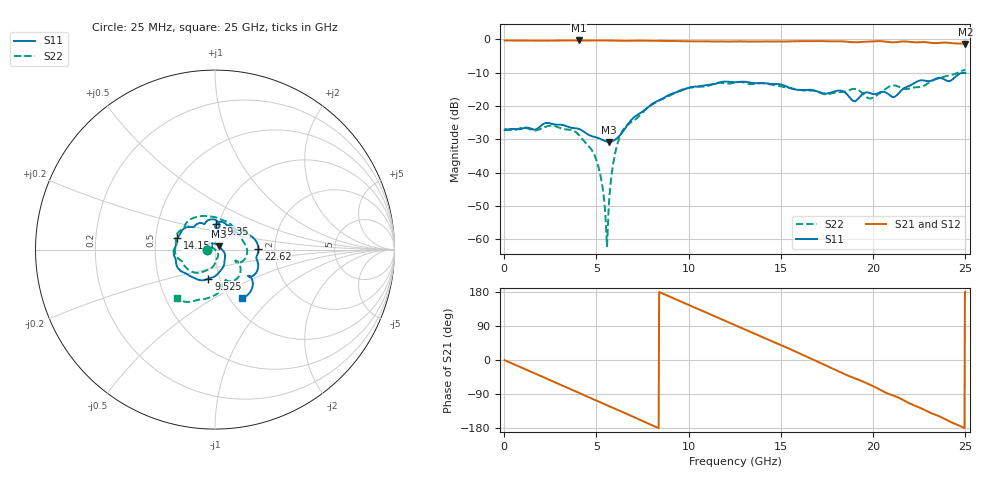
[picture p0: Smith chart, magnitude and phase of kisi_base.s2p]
! RG_ts6_sw_pwr: Finite board 24 × 16 mm, ThunderScope stack, via F → In3 (stub to B) through In1 GND / In2 PWR / In4 GND, four GND vias at 1 mm joined to In1 and In4 (openings in In2)
! stackup: ThunderScope Rev5.3 6-layer with the In2 plane
! ports: 1 F, 2 In3
! kisi-fdtd, conformal, dfine 0.07 mm, 779220 cells
# Hz S RI R 50
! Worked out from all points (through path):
!   1000 points, 25 MHz to 25 GHz, reference 50 ohm
!   highest |S21| = -0.38 dB at 4.05 GHz (marker M1); lowest = -1.4 dB at 25 GHz (marker M2)
!   group delay of S21, straight-line fit = 59.9 ps
!   lowest |S11| = -30.8 dB at 5.675 GHz (marker M3), VSWR 1.06, Z = 52.2 + j1.92 ohm
!   |S11| at or under -10 dB: start of sweep to end of sweep
!   |S22| runs from -62.1 to -9.3 dB; largest |S21 - S12| = 0.0036
!   S11 on the Smith chart (normalised r, x): 25 MHz: 0.92, -0.00; 9.525 GHz: 0.88, -0.29; 14.15 GHz: 0.65, +0.09; 19.35 GHz: 0.97, +0.29; 22.62 GHz: 1.64, +0.02; 25 GHz: 1.14, -0.68
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2.5e7  -0.0431 -0.000182  0.9561 -0.00894  0.957 -0.0091  -0.045 0.000118
2e9  -0.0506 -0.000696  0.6995 -0.6437  0.6993 -0.6445  -0.0453 -0.00302
4.05e9  -0.0308 0.0331  0.0556 -0.9553  0.0551 -0.9548  -0.0327 0.0165
4.2e9  -0.0259 0.0345  0.000996 -0.9565  0.00122 -0.9559  -0.0287 0.0158
5.05e9  0.00054 0.0334  -0.2979 -0.9083  -0.2979 -0.9077  -0.011 0.00863
5.3e9  0.0109 0.0291  -0.3824 -0.8763  -0.3817 -0.8765  -0.00564 0.00396
5.525e9  0.0184 0.0228  -0.4558 -0.8408  -0.456 -0.8414  -0.00144 6.52e-05
5.675e9  0.0222 0.0184  -0.5036 -0.8131  -0.5042 -0.8133  0.00229 -0.00241
5.925e9  0.0278 0.0115  -0.5786 -0.7587  -0.5786 -0.7581  0.0108 -0.0095
6.35e9  0.0384 0.000328  -0.6836 -0.6534  -0.6835 -0.654  0.0176 -0.0349
8.35e9  0.0318 -0.1151  -0.9464 -0.0109  -0.947 -0.011  -0.0375 -0.1121
9.525e9  -0.037 -0.1622  -0.8505 0.3889  -0.8504 0.3893  -0.1125 -0.1283
1.1125e10  -0.1533 -0.1382  -0.4857 0.7865  -0.4861 0.7868  -0.1943 -0.0582
1.2525e10  -0.2199 -0.0528  -0.0351 0.9267  -0.0348 0.9263  -0.2179 0.0523
1.415e10  -0.2091 0.0627  0.4981 0.7799  0.4986 0.78  -0.1359 0.1693
1.6675e10  -0.0933 0.1459  0.9347 0.047  0.9348 0.0477  0.0704 0.1543
1.7975e10  -0.0417 0.1614  0.8341 -0.4069  0.8343 -0.4077  0.1373 0.0812
1.935e10  0.00679 0.144  0.5224 -0.7422  0.5224 -0.7412  0.1451 -0.0692
1.99e10  0.0615 0.1403  0.3633 -0.8479  0.3626 -0.8487  0.1148 -0.0612
2.085e10  0.1131 0.0952  0.0065 -0.9034  0.00535 -0.904  0.1394 -0.1343
2.2625e10  0.2419 0.00601  -0.5574 -0.7112  -0.559 -0.7123  0.0398 -0.1902
2.5e10  0.1509 -0.2718  -0.8496 0.0133  -0.8462 0.012  -0.2122 -0.2699
